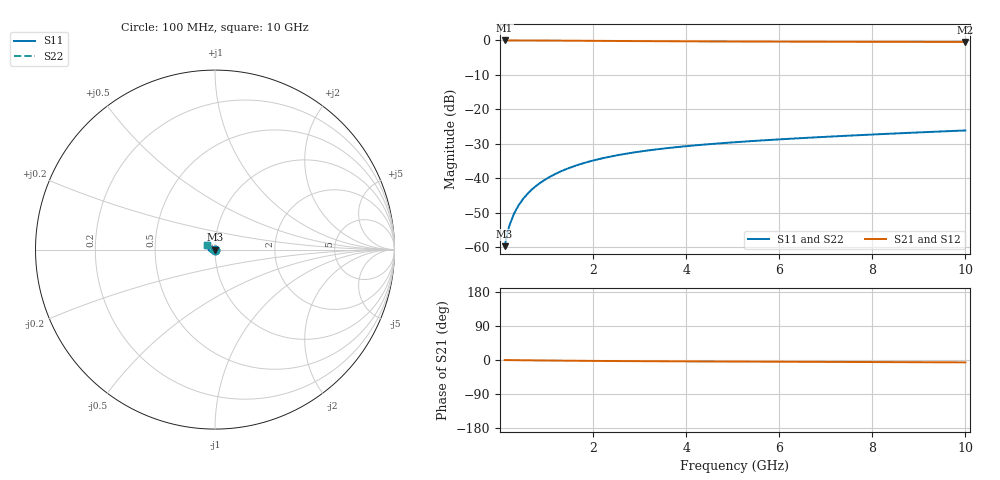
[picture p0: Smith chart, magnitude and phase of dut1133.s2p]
! Touchstone file exported from HFSS 2024.1.0
!  File:  C:/UserFiles/LocalFiles/RDL_TSV_Batchsim/temp_TSV1_1133_1780070282.aedt
!  Generated:  12:02:38 AM May 30, 2026
!  Design:  TSV1
!  Project:  temp_TSV1_1133_1780070282
!  Setup:  Setup1
!  Solution:  Sweep
! Variables:
!  dtsv = 8.08um
!  hbump = 3um
!  htsv = 94.83um
!  lrdl = 252.1521522um
!  p = 40
!  p1 = 59.77um
!  t = 500um
!  trdl = 3um
!  wrdl = 24.89489489um
# GHz S MA R 50.000000
! Terminal data exported
! Port[1] = TSV22_T1
! Port[2] = TSV22_T2
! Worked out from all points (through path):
!   100 points, 100 MHz to 10 GHz, reference 50 ohm
!   highest |S21| = 0.00 dB at 100 MHz (marker M1); lowest = -0.4 dB at 10 GHz (marker M2)
!   lowest |S11| = -59.6 dB at 100 MHz (marker M3), VSWR 1.00, Z = 50 - j0.102 ohm
!   |S11| at or under -10 dB: start of sweep to end of sweep
!   |S22| runs from -59.6 to -26.1 dB; largest |S21 - S12| = 5.9e-15
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0.1  0.001043 -78.7  0.9997 -0.1  0.9997 -0.1  0.001043 -78.7
! Gamma 0 0 0 0
! Port Impedance 50 0 50 0
0.2  0.002051 -87.5  0.9996 -0.3  0.9996 -0.3  0.002051 -87.5
0.3  0.003066 -92.0  0.9994 -0.4  0.9994 -0.4  0.003066 -92.0
0.4  0.004075 -95.4  0.9991 -0.5  0.9991 -0.5  0.004075 -95.4
0.5  0.005077 -98.4  0.9987 -0.7  0.9987 -0.7  0.005077 -98.4
0.6  0.006069 -101.1  0.9983 -0.8  0.9983 -0.8  0.006069 -101.1
0.7  0.007049 -103.6  0.9978 -0.9  0.9978 -0.9  0.007049 -103.6
0.8  0.008015 -106.1  0.9972 -1.1  0.9972 -1.1  0.008015 -106.1
0.9  0.008966 -108.4  0.9966 -1.2  0.9966 -1.2  0.008966 -108.4
1.1  0.01082 -113.0  0.9952 -1.4  0.9952 -1.4  0.01082 -113.0
1.4  0.01345 -119.5  0.9928 -1.8  0.9928 -1.8  0.01345 -119.5
1.6  0.01511 -123.6  0.991 -2.0  0.991 -2.0  0.01511 -123.6
1.8  0.01668 -127.5  0.9892 -2.2  0.9892 -2.2  0.01668 -127.5
2.1  0.01889 -133.2  0.9864 -2.4  0.9864 -2.4  0.01889 -133.2
2.5  0.02155 -140.2  0.9827 -2.7  0.9827 -2.7  0.02155 -140.2
2.9  0.02392 -146.7  0.9792 -3.0  0.9792 -3.0  0.02392 -146.7
3.4  0.02656 -154.2  0.9752 -3.3  0.9752 -3.3  0.02656 -154.2
4.2  0.03018 -164.6  0.9697 -3.7  0.9697 -3.7  0.03018 -164.6
5.1  0.03368 -174.7  0.9649 -4.2  0.9649 -4.2  0.03368 -174.7
6.7  0.03914 170.7  0.9588 -4.8  0.9588 -4.8  0.03914 170.7
8.4  0.04456 158.6  0.9546 -5.6  0.9546 -5.6  0.04456 158.6
10  0.04963 149.5  0.9519 -6.3  0.9519 -6.3  0.04963 149.5
